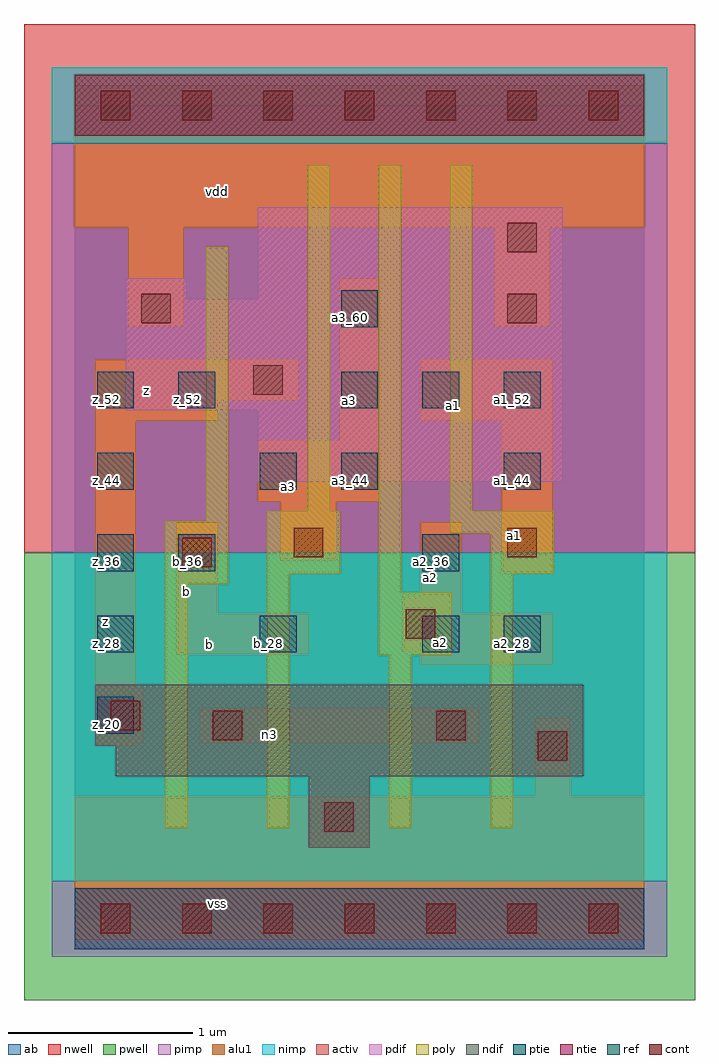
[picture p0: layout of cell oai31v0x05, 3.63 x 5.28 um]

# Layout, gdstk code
import gdstk
lib = gdstk.Library(unit=1e-6, precision=2.5e-09)
def R(c, l, rs):  # rectangles x0, y0, x1, y1
    for r in rs: c.add(gdstk.rectangle(r[:2], r[2:], *l))
def A(c, l, x, y, w, h, nx, ny, dx, dy):  # array of equal rectangles
    R(c, l, [(x+i*dx, y+j*dy, x+i*dx+w, y+j*dy+h) for i in range(nx) for j in range(ny)])
ndif = (3, 0)
pdif = (4, 0)
ntie = (5, 0)
ptie = (6, 0)
ref = (24, 0)
cont = (25, 0)
pwell = (41, 0)
nwell = (42, 0)
activ = (43, 0)
pimp = (44, 0)
nimp = (45, 0)
poly = (46, 0)
alu1 = (49, 0)
ab = (63, 0)

oai31v0x05 = lib.new_cell('oai31v0x05')
R(oai31v0x05, ndif, [(1.265,0.385,1.595,0.77), (0.22,0.77,2.75,0.935), (0.11,0.935,2.75,1.265)])
R(oai31v0x05, pdif, [(0.99,2.365,2.64,2.75), (0.275,2.75,2.64,3.355), (0.275,3.355,0.605,3.465), (0.99,3.355,2.64,3.85)])
R(oai31v0x05, ntie, [(0,4.235,3.08,4.565)])
R(oai31v0x05, ptie, [(0,-0.165,3.08,0.165)])
A(oai31v0x05, ref, 0.12, 1.44, 0.2, 0.2, 3, 1, 0.88, 0)
A(oai31v0x05, ref, 0.12, 1.88, 0.2, 0.2, 1, 3, 0, 0.44)
A(oai31v0x05, ref, 1.44, 2.76, 0.2, 0.2, 3, 1, 0.44, 0)
R(oai31v0x05, ref, [(0.12,1,0.32,1.2), (2.32,1.44,2.52,1.64), (0.56,1.88,0.76,2.08), (1.88,1.88,2.08,2.08), (1,2.32,1.2,2.52), (1.44,2.32,1.64,2.52), (2.32,2.32,2.52,2.52), (0.56,2.76,0.76,2.96), (1.44,3.2,1.64,3.4)])
A(oai31v0x05, cont, 0.14, -0.08, 0.16, 0.16, 7, 2, 0.44, 4.4)
R(oai31v0x05, cont, [(1.35,0.47,1.51,0.63), (2.505,0.855,2.665,1.015), (0.745,0.965,0.905,1.125), (1.955,0.965,2.115,1.125), (0.195,1.02,0.355,1.18), (1.79,1.515,1.95,1.675), (0.58,1.9,0.74,2.06), (1.185,1.955,1.345,2.115), (2.34,1.955,2.5,2.115), (0.965,2.835,1.125,2.995), (0.36,3.22,0.52,3.38), (2.34,3.22,2.5,3.38), (2.34,3.605,2.5,3.765)])
R(oai31v0x05, pwell, [(-0.275,-0.44,3.355,1.98)])
R(oai31v0x05, nwell, [(-0.275,1.98,3.355,4.84)])
R(oai31v0x05, activ, [(0,-0.165,3.08,0.165), (1.265,0.385,1.595,0.77), (0.22,0.77,2.75,0.935), (0.11,0.935,2.75,1.265), (0.99,2.365,2.64,2.75), (0.275,2.75,2.64,3.355), (0.275,3.355,0.605,3.465), (0.99,3.355,2.64,3.85), (0,4.235,3.08,4.565)])
R(oai31v0x05, pimp, [(-0.125,-0.205,3.205,0.205), (-0.125,1.98,3.205,4.195)])
R(oai31v0x05, nimp, [(-0.125,0.205,3.205,1.98), (-0.125,4.195,3.205,4.605)])
R(oai31v0x05, poly, [(0.49,0.49,0.61,1.81), (1.04,0.49,1.16,1.865), (1.7,0.49,1.82,1.425), (2.25,0.49,2.37,1.865), (1.645,1.425,2.04,1.765), (1.645,1.765,1.765,4.075), (0.49,1.81,0.83,2.15), (1.04,1.865,1.435,2.205), (2.25,1.865,2.59,2.085), (2.03,2.085,2.59,2.205), (0.71,2.15,0.83,3.635), (1.26,2.205,1.38,4.075), (2.03,2.205,2.15,4.075)])
R(oai31v0x05, alu1, [(0,-0.11,3.08,0.66), (2.49,0.66,2.68,1.085), (0.11,0.935,0.33,0.95), (0.11,0.95,0.37,1.25), (0.675,0.95,2.185,1.14), (0.11,1.25,0.33,2.695), (1.87,1.375,2.585,1.445), (0.55,1.43,1.265,1.65), (1.775,1.445,2.585,1.65), (0.55,1.65,0.77,2.145), (1.775,1.65,2.09,1.745), (1.87,1.745,2.09,2.145), (2.31,1.87,2.585,2.695), (1.115,1.94,1.415,2.255), (0.99,2.255,1.65,2.585), (1.43,2.585,1.65,3.465), (0.11,2.695,0.77,2.805), (1.87,2.695,2.585,3.025), (0.11,2.805,1.21,3.025), (0.29,3.205,0.59,3.74), (2.27,3.205,2.57,3.74), (0,3.74,3.08,4.51)])
R(oai31v0x05, ab, [(0,0,3.08,4.4)])
oai31v0x05.add(gdstk.Label('vss', (0.77,0.0825), layer=49, texttype=0))
oai31v0x05.add(gdstk.Label('n3', (1.0525,0.9975), layer=49, texttype=0))
oai31v0x05.add(gdstk.Label('a2', (1.9775,1.495), layer=49, texttype=0))
oai31v0x05.add(gdstk.Label('b', (0.7275,1.485), layer=49, texttype=0))
oai31v0x05.add(gdstk.Label('a1', (2.3775,2.075), layer=49, texttype=0))
oai31v0x05.add(gdstk.Label('a2', (1.925,1.845), layer=49, texttype=0))
oai31v0x05.add(gdstk.Label('b', (0.605,1.7725), layer=49, texttype=0))
oai31v0x05.add(gdstk.Label('a3', (1.155,2.3375), layer=49, texttype=0))
oai31v0x05.add(gdstk.Label('a1', (2.0475,2.7775), layer=49, texttype=0))
oai31v0x05.add(gdstk.Label('a3', (1.485,2.805), layer=49, texttype=0))
oai31v0x05.add(gdstk.Label('z', (0.165,1.61), layer=49, texttype=0))
oai31v0x05.add(gdstk.Label('z', (0.385,2.86), layer=49, texttype=0))
oai31v0x05.add(gdstk.Label('vdd', (0.77,3.9325), layer=49, texttype=0))
oai31v0x05.add(gdstk.Label('b_36', (0.61,1.93), layer=24, texttype=0))
oai31v0x05.add(gdstk.Label('z_52', (0.61,2.81), layer=24, texttype=0))
oai31v0x05.add(gdstk.Label('b_28', (1.05,1.49), layer=24, texttype=0))
oai31v0x05.add(gdstk.Label('a3_44', (1.05,2.37), layer=24, texttype=0))
oai31v0x05.add(gdstk.Label('a3_44', (1.49,2.37), layer=24, texttype=0))
oai31v0x05.add(gdstk.Label('a3_52', (1.49,2.81), layer=24, texttype=0))
oai31v0x05.add(gdstk.Label('a3_60', (1.49,3.25), layer=24, texttype=0))
oai31v0x05.add(gdstk.Label('a2_28', (1.93,1.49), layer=24, texttype=0))
oai31v0x05.add(gdstk.Label('a2_36', (1.93,1.93), layer=24, texttype=0))
oai31v0x05.add(gdstk.Label('a1_52', (1.93,2.81), layer=24, texttype=0))
oai31v0x05.add(gdstk.Label('z_20', (0.17,1.05), layer=24, texttype=0))
oai31v0x05.add(gdstk.Label('z_28', (0.17,1.49), layer=24, texttype=0))
oai31v0x05.add(gdstk.Label('z_36', (0.17,1.93), layer=24, texttype=0))
oai31v0x05.add(gdstk.Label('z_44', (0.17,2.37), layer=24, texttype=0))
oai31v0x05.add(gdstk.Label('z_52', (0.17,2.81), layer=24, texttype=0))
oai31v0x05.add(gdstk.Label('a2_28', (2.37,1.49), layer=24, texttype=0))
oai31v0x05.add(gdstk.Label('a1_44', (2.37,2.37), layer=24, texttype=0))
oai31v0x05.add(gdstk.Label('a1_52', (2.37,2.81), layer=24, texttype=0))

lib.write_gds('oai31v0x05.gds')
